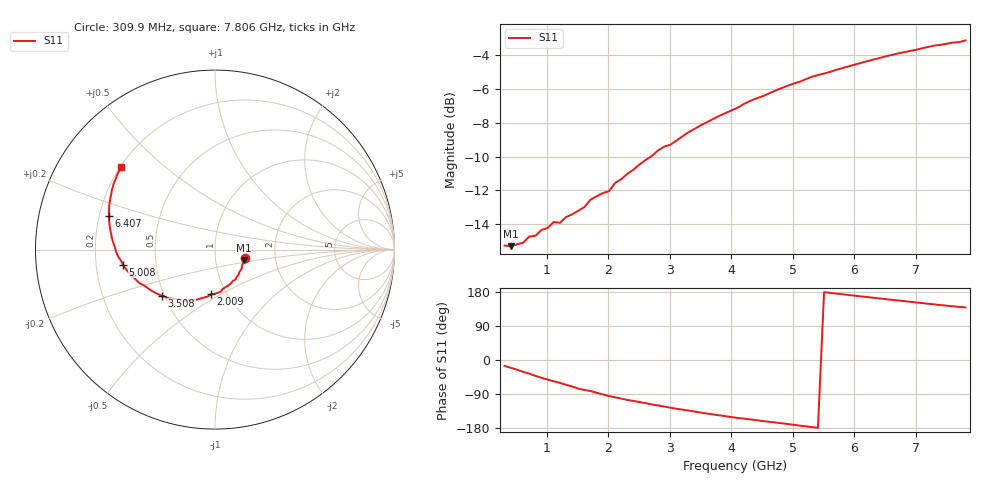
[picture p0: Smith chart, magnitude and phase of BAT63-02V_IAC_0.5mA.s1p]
! Infineon Technologies  Discrete & RF Semiconductors
! BAT63-02V
! IAC = 0.5 mA
! One-Port S-Parameters
# Hz  S  MA  R  50
!f  S11
!Hz  Mag  Ang
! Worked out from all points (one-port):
!   76 points, 309.9 MHz to 7.806 GHz, reference 50 ohm
!   lowest |S11| = -15.3 dB at 409.8 MHz (marker M1), VSWR 1.41, Z = 68.5 - j8.49 ohm
!   |S11| at or under -10 dB: start of sweep to 2.689 GHz
!   S11 on the Smith chart (normalised r, x): 309.9 MHz: 1.39, -0.13; 2.009 GHz: 0.85, -0.45; 3.508 GHz: 0.49, -0.30; 5.008 GHz: 0.32, -0.07; 6.407 GHz: 0.24, +0.15; 7.806 GHz: 0.20, +0.36
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3.0985e8  0.1723 -15.5
4.098e8  0.1716 -20.5
6.097e8  0.1756 -31.2
7.0965e8  0.1832 -35.9
8.096e8  0.1842 -41.8
1.10945e9  0.2024 -56.0
1.2094e9  0.2013 -60.4
1.30935e9  0.2092 -65.5
1.6092e9  0.2242 -79.2
1.70915e9  0.2358 -81.9
2.009e9  0.2498 -95.2
2.10895e9  0.2642 -98.5
2.2089e9  0.2712 -101.9
2.50875e9  0.3001 -111.1
2.8086e9  0.3301 -119.9
3.0085e9  0.3429 -126.0
3.2084e9  0.3636 -131.1
3.50825e9  0.3921 -138.9
4.10795e9  0.4425 -153.1
4.30785e9  0.4626 -156.7
5.0075e9  0.5202 -170.8
5.4073e9  0.5516 -179.0
6.007e9  0.5925 169.7
6.4068e9  0.6197 162.4
6.90655e9  0.6504 153.6
7.30635e9  0.6746 146.7
7.4063e9  0.6784 144.7
7.8061e9  0.6987 138.7
